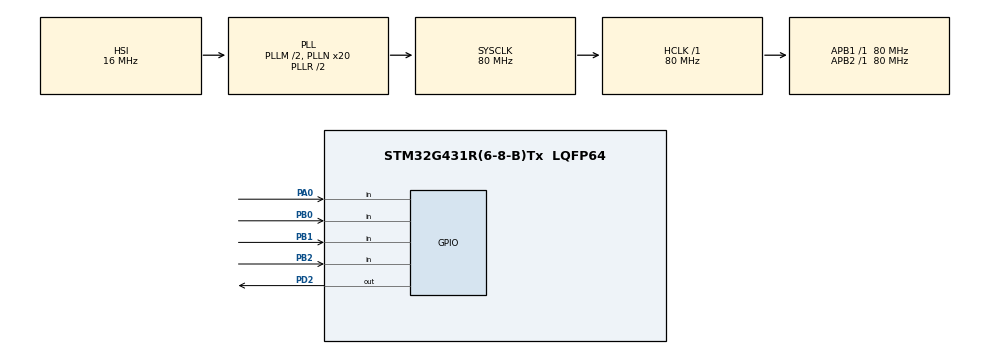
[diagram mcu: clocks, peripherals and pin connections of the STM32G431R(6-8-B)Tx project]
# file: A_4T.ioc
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Mcu.Family=STM32G4
Mcu.Name=STM32G431R(6-8-B)Tx
Mcu.Package=LQFP64
NVIC.PriorityGroup=NVIC_PRIORITYGROUP_4
PA0.Signal=GPIO_Input
PA13.Mode=Serial_Wire
PA13.Signal=SYS_JTMS-SWDIO
PA14.Mode=Serial_Wire
PA14.Signal=SYS_JTCK-SWCLK
PB0.Signal=GPIO_Input
PB1.Signal=GPIO_Input
PB2.Signal=GPIO_Input
PD2.Signal=GPIO_Output
PF0-OSC_IN.Mode=HSE-External-Oscillator
PF0-OSC_IN.Signal=RCC_OSC_IN
PF1-OSC_OUT.Mode=HSE-External-Oscillator
PF1-OSC_OUT.Signal=RCC_OSC_OUT
ProjectManager.HeapSize=0x200
ProjectManager.StackSize=0x400
ProjectManager.TargetToolchain=MDK-ARM V5.32
RCC.ADC12Freq_Value=80000000
RCC.AHBFreq_Value=80000000
RCC.APB1Freq_Value=80000000
RCC.APB1TimFreq_Value=80000000
RCC.APB2Freq_Value=80000000
RCC.APB2TimFreq_Value=80000000
RCC.CortexFreq_Value=80000000
RCC.EXTERNAL_CLOCK_VALUE=12288000
RCC.HCLKFreq_Value=80000000
RCC.HSE_VALUE=24000000
RCC.HSI48_VALUE=48000000
RCC.HSI_VALUE=16000000
RCC.LSE_VALUE=32768
RCC.PLLM=RCC_PLLM_DIV2
RCC.PLLN=20
RCC.SYSCLKFreq_VALUE=80000000
RCC.SYSCLKSource=RCC_SYSCLKSOURCE_PLLCLK
RCC.USBFreq_Value=80000000
RCC.VCOOutputFreq_Value=160000000
VP_SYS_VS_DBSignals.Mode=DisableDeadBatterySignals
board=custom

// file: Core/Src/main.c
/* USER CODE BEGIN Header */
/**
  ******************************************************************************
  * @file           : main.c
  * @brief          : Main program body
  ******************************************************************************
  * @attention
  *
  * Copyright (c) 2024 STMicroelectronics.
  * All rights reserved.
  *
  * This software is licensed under terms that can be found in the LICENSE file
  * in the root directory of this software component.
  * If no LICENSE file comes with this software, it is provided AS-IS.
  *
  ******************************************************************************
  */
/* USER CODE END Header */
#include "main.h"
#include "gpio.h"

/* USER CODE BEGIN Includes */
#include "lcd.h"
#include "led.h"
#include "key.h"
#include "stdio.h"
/* USER CODE END Includes */

/* USER CODE BEGIN PV */

__IO uint32_t lcd_uwtick;
__IO uint32_t key_uwtick;

uint8_t lcd_str[20];
uint8_t key_val,key_down,key_up,key_old;
uint8_t ld1_state=0,ld2_state=0,ld3_state=0;
uint8_t led=0x00;

/* USER CODE END PV */

void SystemClock_Config(void);
/* USER CODE BEGIN PFP */

void lcd_proc(void);
void key_proc(void);

/* USER CODE END PFP */

int main(void)
{

  /* MCU Configuration--------------------------------------------------------*/

  /* Reset of all peripherals, Initializes the Flash interface and the Systick. */
  HAL_Init();

  /* Configure the system clock */
  SystemClock_Config();

  /* Initialize all configured peripherals */
  MX_GPIO_Init();
  /* USER CODE BEGIN 2 */
  LCD_Init();
  LCD_Clear(Black);
  LCD_SetBackColor(Black);
  LCD_SetTextColor(White);

  /* USER CODE END 2 */

  /* Infinite loop */
  while (1)
  {

    /* USER CODE BEGIN 3 */

//	  lcd_proc();
	  key_proc();
//	  led_disp(0x21);
	  led_disp(led);

  }
  /* USER CODE END 3 */
}

void SystemClock_Config(void)
{
  RCC_OscInitTypeDef RCC_OscInitStruct = {0};
  RCC_ClkInitTypeDef RCC_ClkInitStruct = {0};

  /** Configure the main internal regulator output voltage
  */
  HAL_PWREx_ControlVoltageScaling(PWR_REGULATOR_VOLTAGE_SCALE1);

  /** Initializes the RCC Oscillators according to the specified parameters
  * in the RCC_OscInitTypeDef structure.
  */
  RCC_OscInitStruct.OscillatorType = RCC_OSCILLATORTYPE_HSI;
  RCC_OscInitStruct.HSIState = RCC_HSI_ON;
  RCC_OscInitStruct.HSICalibrationValue = RCC_HSICALIBRATION_DEFAULT;
  RCC_OscInitStruct.PLL.PLLState = RCC_PLL_ON;
  RCC_OscInitStruct.PLL.PLLSource = RCC_PLLSOURCE_HSI;
  RCC_OscInitStruct.PLL.PLLM = RCC_PLLM_DIV2;
  RCC_OscInitStruct.PLL.PLLN = 20;
  RCC_OscInitStruct.PLL.PLLP = RCC_PLLP_DIV2;
  RCC_OscInitStruct.PLL.PLLQ = RCC_PLLQ_DIV2;
  RCC_OscInitStruct.PLL.PLLR = RCC_PLLR_DIV2;
  if (HAL_RCC_OscConfig(&RCC_OscInitStruct) != HAL_OK)
  {
    Error_Handler();
  }

  /** Initializes the CPU, AHB and APB buses clocks
  */
  RCC_ClkInitStruct.ClockType = RCC_CLOCKTYPE_HCLK|RCC_CLOCKTYPE_SYSCLK
                              |RCC_CLOCKTYPE_PCLK1|RCC_CLOCKTYPE_PCLK2;
  RCC_ClkInitStruct.SYSCLKSource = RCC_SYSCLKSOURCE_PLLCLK;
  RCC_ClkInitStruct.AHBCLKDivider = RCC_SYSCLK_DIV1;
  RCC_ClkInitStruct.APB1CLKDivider = RCC_HCLK_DIV1;
  RCC_ClkInitStruct.APB2CLKDivider = RCC_HCLK_DIV1;

  if (HAL_RCC_ClockConfig(&RCC_ClkInitStruct, FLASH_LATENCY_2) != HAL_OK)
  {
    Error_Handler();
  }
}

/* USER CODE BEGIN 4 */

void lcd_proc(void)
{
	if(uwTick-lcd_uwtick<500) return;
	lcd_uwtick = uwTick;

	sprintf((char*)lcd_str,"hello");
	LCD_DisplayStringLine(Line0,lcd_str);
}

void key_proc(void)
{
	if(uwTick-key_uwtick<50) return;
	key_uwtick = uwTick;

	key_val = key_scan();
	key_down = key_val&(key_val^key_old);
	key_up = ~key_val&(key_val^key_old);
	key_old = key_val;

	switch(key_down)
	{
		case 1:
			led = led^0x01;
			break;
		case 2:
			led = led^0x02;
			break;
		case 3:
			led = led^0x04;
			break;
		case 4:
			led =0x00;
			break;

	}

//	if(key_down)
//	{
//		sprintf((char*)lcd_str,"hello:%d",key_down);
//		LCD_DisplayStringLine(Line0,lcd_str);
//	}
}

/* USER CODE END 4 */

void Error_Handler(void)
{
  __disable_irq();
  while (1)
  {
  }
}
